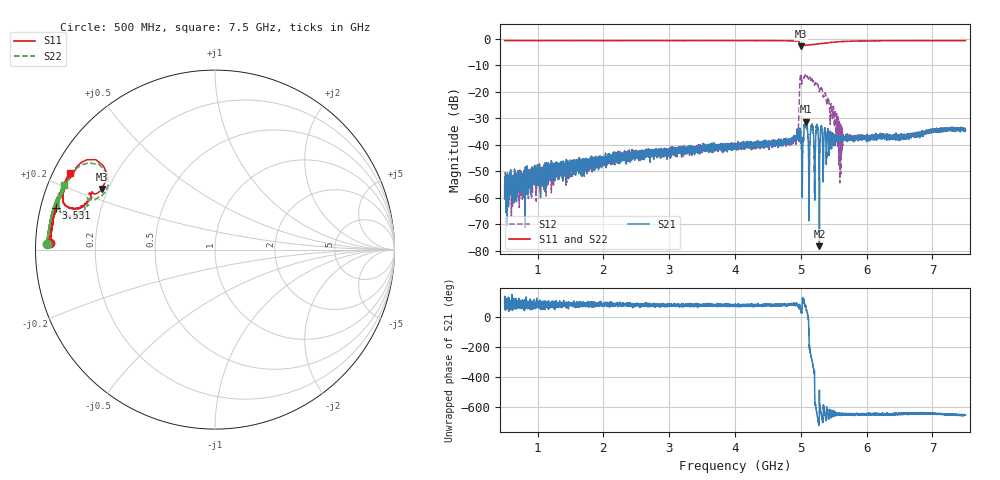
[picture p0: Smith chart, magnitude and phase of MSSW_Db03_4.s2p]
!Keysight Technologies,M9374A,MY55442783,A.12.55.05
!Date: Wednesday, May 19, 2021 15:50:28
!Correction: S11(Full 2 Port(1,2))
!S21(Full 2 Port(1,2))
!S12(Full 2 Port(1,2))
!S22(Full 2 Port(1,2))
!S2P File: Measurements: S11, S21, S12, S22:
# Hz S  RI  R 50
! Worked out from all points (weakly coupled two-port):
!   7001 points, 500 MHz to 7.5 GHz, reference 50 ohm
!   highest |S21| = -31.33 dB at 5.077 GHz (marker M1); lowest = -78.3 dB at 5.282 GHz (marker M2)
!   lowest |S11| = -2.9 dB at 4.997 GHz (marker M3), VSWR 6.04, Z = 8.79 + j12.2 ohm
!   |S11| at or under -10 dB: nowhere
!   |S22| runs from -3.2 to -0.5 dB; largest |S21 - S12| = 0.22
!   S11 on the Smith chart (normalised r, x): 500 MHz: 0.04, +0.02; 3.531 GHz: 0.04, +0.13; 7.5 GHz: 0.05, +0.25
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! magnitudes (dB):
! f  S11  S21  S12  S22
! 500 MHz  -0.7  -60.4  -54.8  -0.6
! 722 MHz  -0.7  -51.7  -53.7  -0.6
! 1.667 GHz  -0.8  -49.3  -47.2  -0.6
! 2.834 GHz  -0.8  -43.0  -43.0  -0.6
! 3.531 GHz  -0.8  -41.9  -41.4  -0.6
! 4 GHz  -0.7  -39.8  -41.2  -0.7
! 4.9 GHz  -0.9  -37.2  -36.5  -0.8
! 4.942 GHz  -1.0  -36.2  -34.9  -0.9
! 4.997 GHz  -2.9  -35.4  -13.3  -2.9
! 5.016 GHz  -2.5  -44.5  -15.9  -2.4
! 5.077 GHz  -2.6  -31.3  -13.8  -2.5
! 5.118 GHz  -2.3  -44.4  -15.4  -2.4
! 5.167 GHz  -2.3  -33.1  -15.1  -2.3
! 5.197 GHz  -2.2  -38.3  -16.6  -2.2
! 5.282 GHz  -1.9  -78.3  -20.0  -1.9
! 5.31 GHz  -1.9  -33.5  -18.5  -1.9
! 5.334 GHz  -1.8  -44.8  -20.9  -1.8
! 5.364 GHz  -1.7  -33.6  -20.7  -1.6
! 5.493 GHz  -1.4  -39.3  -25.5  -1.3
! 5.609 GHz  -1.1  -37.7  -34.8  -1.1
! 6.334 GHz  -0.8  -36.8  -36.8  -0.8
! 7.5 GHz  -0.8  -34.7  -34.0  -0.8
